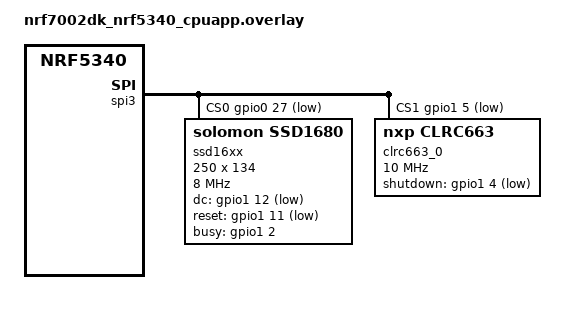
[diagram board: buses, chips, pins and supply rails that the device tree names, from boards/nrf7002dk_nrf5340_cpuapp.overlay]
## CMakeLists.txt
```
#
# Copyright (c) 2023 Nordic Semiconductor ASA
#
# SPDX-License-Identifier: LicenseRef-Nordic-5-Clause
#

cmake_minimum_required(VERSION 3.20.0)

find_package(Zephyr REQUIRED HINTS $ENV{ZEPHYR_BASE})
project(tcp_tests)

target_include_directories(app PUBLIC ${ZEPHYR_BASE}/subsys/net/ip)

target_sources(app PRIVATE
	src/main.c
	src/task/wifi.c
	src/task/tcp.c
	src/task/memoryManagement.c
	src/task/userInterface.c
    src/task/desfire/DesfireApp.cpp
    src/task/desfire/AES128.cpp
    src/task/desfire/DES.cpp
    src/task/desfire/Desfire.cpp
    src/task/desfire/Utils.cpp
)
```

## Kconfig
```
#
# Copyright (c) 2023 Nordic Semiconductor
#
# SPDX-License-Identifier: LicenseRef-Nordic-5-Clause
#

source "Kconfig.zephyr"

menu "Programme proncipale"

config CONNECTION_IDLE_TIMEOUT
	int "Time to be waited for a station to connect"
	default 30

config WIFI_SSID
	string "WIFI AP"
	help
	  Specify the SSID to connect

choice  WIFI_KEY_MGMT_SELECT
	prompt "Security Option"
	default WIFI_KEY_MGMT_WPA2

config WIFI_KEY_MGMT_NONE
	bool "Open Security"
	help
	  Enable for Open Security

config WIFI_KEY_MGMT_WPA2
	bool "WPA2 Security"
	help
	  Enable for WPA2 Security

config WIFI_KEY_MGMT_WPA2_256
	bool "WPA2 SHA 256 Security"
	help
	  Enable for WPA2-PSK-256 Security

config WIFI_KEY_MGMT_WPA3
	bool "WPA3 Security"
	help
	  Enable for WPA3 Security
endchoice

config WIFI_PASSWORD
	string "3vjd-tgyt-fm22-6sur"
	help
	  Specify the Password to connect

config STA_CONN_TIMEOUT_SEC
	int "Overall Connection timeout (time to be waited for a station to connect and get an IP address)"
	# Zephyr DHCP retry is 1 minute, so set the default to 70 seconds
	default 70
	# 512 has no special meaning, just a reasonable upper limit
	range 0 512
	help
	  Specify the connection timeout, in seconds. This is the overall timeout (time to be waited for
	  a station to connect and get an IP address). DHCP retries should be taken into account when setting
	  this value. If the timeout is set to 0, the connection will not timeout.

config TWT_TRIGGER_ENABLE
	bool "Enable trigger mode"
	help
	  STA expects AP to send triggers for start of every service period.

config TWT_ANNOUNCED_MODE
	bool "Enable announced mode"
	help
	  STA announces its wakeup to AP for every service period start.

config TWT_WAKE_INTERVAL
	int "TWT awake interval"
	help
	  The period where STA is awake and does data transfer, interval should be in us.
	default 65000

config TWT_INTERVAL
	int "TWT service interval"
	help
	  The period for TWT that includes both wake and sleep durations, interval should be in us.
	  Please note higher intervals can be rejected by AP or cause interoperability issues.
	default 524000

choice TWT_TRAFFIC_PATTERN
	prompt "Specifies the TWT traffic pattern either continuous tx or scheduled tx"
	default CONTINUOUS_TX

config CONTINUOUS_TX
	bool "Send traffic continuously"
	help
	  Send traffic continuously without any restrictions, irrespective of sleep and awake periods.

config SCHEDULED_TX
	bool "Send traffic based on TWT schedule"
	help
	  Send traffic based on the TWT schedule and only transmits during the awake periods.

endchoice

config TCP_SERVER_IP
	string "IPv4 address of the TCP server"
	help
	  Specify the IPv4 address of the TCP server
	default "0.0.0.0"

config TCP_SERVER_PORT
	int "Server port"
	help
	  Specify the server port
	default 2000

config DEVICE_MAJOR_VERSION
	int "Device major version"
	help
	  Specify the device major version
	default 0

config DEVICE_MINOR_VERSION
	int "Device minor version"
	help
	  Specify the device minor version
	default 1

choice DEVICE_TYPE
	prompt "Device type"
	default DEVICE_TYPE_DEVKIT

config DEVICE_TYPE_DEVKIT
	bool "Development kit"
	help
	  Specify the device type is the devkit device

config DEVICE_TYPE_READER_HW_V1
	bool "Reader hardware version 1"
	help
	  Specify the device type is the reader hardware version 1

config DEVICE_TYPE_READER_HW_V2
	bool "Reader hardware version 2"
	help
	  Specify the device type is the reader hardware version 2

config DEVICE_TYPE_UNKNOWN
	bool "Unknown device type, please specify in the code"
	help
	  Specify the device type is unknown

config DEVICE_TYPE_CUSTOM
	bool "Custom device type, please specify in the code"
	help
	  Specify the device type is custom

endchoice

endmenu
```

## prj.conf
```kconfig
#
# Copyright (c) 2023 Nordic Semiconductor ASA
#
# SPDX-License-Identifier: LicenseRef-Nordic-5-Clause
#
# Enable the drivers
CONFIG_WIFI=y
CONFIG_WIFI_NRF700X=y
CONFIG_CRC=y
CONFIG_SPI=y
CONFIG_FLASH=y
CONFIG_REBOOT=y
CONFIG_CLRC663=y
CONFIG_SSD16XX=y

# Enable Display
CONFIG_DISPLAY=y
CONFIG_DISPLAY_LOG_LEVEL_ERR=y
CONFIG_CPP=y

# WPA supplicant
CONFIG_WPA_SUPP=y

# Below configs need to be modified based on security
# CONFIG_WIFI_KEY_MGMT_NONE=y
CONFIG_WIFI_KEY_MGMT_WPA2=y
#CONFIG_WIFI_KEY_MGMT_WPA2_256=y
# CONFIG_WIFI_KEY_MGMT_WPA3=y
CONFIG_WIFI_SSID="TWT_Test_AP"
CONFIG_WIFI_PASSWORD="3vjd-tgyt-fm22-6sur"

# Below configs are for TCP server
CONFIG_TCP_SERVER_IP="192.168.0.118"
CONFIG_TCP_SERVER_PORT=3000

# Below this config is for the device type
CONFIG_DEVICE_TYPE_DEVKIT=y

# Below configs are for TWT
# Time when the wifi is awake [us]
CONFIG_TWT_WAKE_INTERVAL=65000
# Time for one TWT cycle (Awake + sleep time) [us]
CONFIG_TWT_INTERVAL=10000000


# System settings
CONFIG_NEWLIB_LIBC=y
CONFIG_NEWLIB_LIBC_NANO=n

# Networking
CONFIG_NETWORKING=y
CONFIG_NET_SOCKETS=y
CONFIG_NET_LOG=y
CONFIG_NET_IPV4=y
CONFIG_NET_IPV6=n
CONFIG_NET_UDP=y
CONFIG_NET_TCP=y
CONFIG_NET_DHCPV4=y

# Below section is the primary contributor to SRAM and is currently
# tuned for performance, but this will be revisited in the future.
CONFIG_NET_PKT_TX_COUNT=8
CONFIG_NET_PKT_RX_COUNT=16
CONFIG_NET_BUF_TX_COUNT=16
CONFIG_NET_BUF_RX_COUNT=16
CONFIG_NET_BUF_DATA_SIZE=1500
CONFIG_HEAP_MEM_POOL_SIZE=180000
CONFIG_SPEED_OPTIMIZATIONS=y
#CONFIG_NRF700X_MAX_TX_AGGREGATION=9
#CONFIG_NRF700X_MAX_TX_TOKENS=12
CONFIG_NET_TC_TX_COUNT=1

# Below configs will increase tcp connection timeout
CONFIG_NET_TCP_ACK_TIMEOUT=60000
CONFIG_NET_TCP_INIT_RETRANSMISSION_TIMEOUT=1000
CONFIG_NET_SOCKETS_CONNECT_TIMEOUT=10000
CONFIG_NET_TCP_RETRY_COUNT=10

CONFIG_NET_IF_UNICAST_IPV4_ADDR_COUNT=1
CONFIG_NET_MAX_CONTEXTS=5
CONFIG_NET_CONTEXT_SYNC_RECV=y

CONFIG_INIT_STACKS=y

CONFIG_NET_L2_ETHERNET=y

CONFIG_NET_CONFIG_SETTINGS=y
CONFIG_NET_CONFIG_INIT_TIMEOUT=0

CONFIG_NET_SOCKETS_POLL_MAX=10

# Memories
CONFIG_MAIN_STACK_SIZE=4096
CONFIG_SYSTEM_WORKQUEUE_STACK_SIZE=4096
CONFIG_NET_TX_STACK_SIZE=4096
CONFIG_NET_RX_STACK_SIZE=4096

# Debugging
CONFIG_STACK_SENTINEL=y
CONFIG_DEBUG_COREDUMP=y
CONFIG_DEBUG_COREDUMP_BACKEND_LOGGING=y
CONFIG_DEBUG_COREDUMP_MEMORY_DUMP_MIN=y
CONFIG_SHELL_CMDS_RESIZE=n


# Kernel options
CONFIG_ENTROPY_GENERATOR=y

# Logging
CONFIG_LOG=y
CONFIG_LOG_BUFFER_SIZE=2048
CONFIG_CLRC663_LOG_LEVEL_INF=y
CONFIG_POSIX_CLOCK=y

#CONFIG_PM=y

CONFIG_NET_CONFIG_MY_IPV4_ADDR="192.168.0.68"
CONFIG_NET_CONFIG_MY_IPV4_NETMASK="255.255.255.0"
CONFIG_NET_CONFIG_MY_IPV4_GW=""

# printing of scan results puts pressure on queues in new locking
# design in net_mgmt. So, use a higher timeout for a crowded
# environment.
CONFIG_NET_MGMT_EVENT_QUEUE_TIMEOUT=5000

# Needed because traffic gen uses more sockets, so, keeping an upper limit
CONFIG_POSIX_MAX_FDS=16

# enable lvgl
CONFIG_LVGL=y
CONFIG_LV_Z_MEM_POOL_SIZE=4096

CONFIG_LV_COLOR_DEPTH_1=y
CONFIG_LV_USE_LABEL=y
CONFIG_LV_USE_WIN=y
CONFIG_LV_USE_IMG=y

CONFIG_LV_TXT_ENC_UTF8=y
```

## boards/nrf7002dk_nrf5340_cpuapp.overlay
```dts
/*
 * Copyright (c) 2024 Johann Gilliéron
 * SPDX-License-Identifier: Apache-2.0
 */
 / {
    chosen {
        zephyr,display = &ssd16xx;
    };
};

&spi3 {
    status = "okay";
    cs-gpios = <&gpio0 27 GPIO_ACTIVE_LOW>, <&gpio1 5 GPIO_ACTIVE_LOW>; //, <&gpio0 3 GPIO_ACTIVE_LOW>

    ssd16xx: ssd1680@0 {
        compatible = "solomon,ssd1680";
        spi-max-frequency = <8000000>;
        status = "okay";
        reg = <0>;
        width = <250>;
        height = <134>;
        dc-gpios = <&gpio1 12 GPIO_ACTIVE_LOW>;
        reset-gpios = <&gpio1 11 GPIO_ACTIVE_LOW>;
        busy-gpios = <&gpio1 2 GPIO_ACTIVE_HIGH>;
        zephyr,pm-device-runtime-auto;
    };

    clrc663_0: nfc@1 {
        compatible = "nxp,clrc663";
        status = "okay";
		reg = <1>;
        shutdown-gpios = <&gpio1 4 GPIO_ACTIVE_LOW>;
        spi-max-frequency = <10000000>;
    };
};
```

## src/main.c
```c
/*
 * Copyright (c) 2023 Nordic Semiconductor ASA
 *
 * SPDX-License-Identifier: LicenseRef-Nordic-5-Clause
 */

/** @file
 * @brief WiFi TWT sample
 */

#include <zephyr/logging/log.h>
LOG_MODULE_REGISTER(app, CONFIG_LOG_DEFAULT_LEVEL);

#include <nrfx_clock.h>
#include <zephyr/kernel.h>
#include <zephyr/sys/crc.h>
#include <stdio.h>
#include <stdlib.h>
#include <zephyr/sys/printk.h>
#include <zephyr/init.h>

#include "task/wifi.h"
#include "task/deviceInformation.h"
#include "task/memoryManagement.h"
#include "task/userInterface.h"


#if !DT_NODE_EXISTS(DT_NODELABEL(clrc663_0))
#error "whoops, node label clrc663_0 not found"
#endif

const struct device *clrc663 = DEVICE_DT_GET(DT_NODELABEL(clrc663_0));

#if !DT_NODE_EXISTS(DT_NODELABEL(mx25r64))
#error "whoops, node label mx25r64 (Flash SPI) not found"
#endif
const struct device *flash_device = DEVICE_DT_GET(DT_NODELABEL(mx25r64));


const struct device *display_dev = DEVICE_DT_GET(DT_CHOSEN(zephyr_display));

DeviceConfig_t device_config;
uint32_t time_offset = 0;

void load_device_config(void)
{
	uint16_t crc;
	int ret;

	// Load the device configuration from the flash memory
	ret = flash_read_device_config(&device_config);
	if (ret != 0) {
		LOG_ERR("Failed to load the device configuration from the flash memory");
	}

	// Check if the device configuration is valid
	crc = crc16_ansi((char *)&device_config, sizeof(DeviceConfig_t) - sizeof(uint16_t));
	if(crc != device_config.CRC_16_ansi) {
		LOG_WRN("Device configuration is invalid, set the device configuration to the default values");
		// Set the device configuration to the default values
		if (device_config.device_id == 0xff) {
			device_config.device_id = DEFAULT_DEVICE_ID;
		}
		device_config.device_type = DEFAULT_DEVICE_TYPE;
		device_config.device_status = DEVICE_STATUS_OK;
		device_config.device_major_version = DEFAULT_DEVICE_MAJOR_VERSION;
		device_config.device_minor_version = DEFAULT_DEVICE_MINOR_VERSION;
		crc = crc16_ansi((char *)&device_config, sizeof(DeviceConfig_t) - sizeof(uint16_t));
		device_config.CRC_16_ansi = crc;
		// Save the device configuration to the flash memory
		ret = flash_write_device_config(&device_config);
		if (ret != 0) {
			LOG_ERR("Failed to save the device configuration to the flash memory");
		}
	} else {
		LOG_INF("Device configuration loaded successfully");
	}

	// check if the device is updated or not
	if (device_config.device_major_version != DEFAULT_DEVICE_MAJOR_VERSION || device_config.device_minor_version != DEFAULT_DEVICE_MINOR_VERSION) {
		LOG_WRN("Device configuration is outdated, set the device configuration to the new version values");
		// Set the device configuration to the default values
		device_config.device_type = DEFAULT_DEVICE_TYPE;
		device_config.device_status = DEVICE_STATUS_OK;
		device_config.device_major_version = DEFAULT_DEVICE_MAJOR_VERSION;
		device_config.device_minor_version = DEFAULT_DEVICE_MINOR_VERSION;
		crc = crc16_ansi((char *)&device_config, sizeof(DeviceConfig_t) - sizeof(uint16_t));
		device_config.CRC_16_ansi = crc;
		// Save the device configuration to the flash memory
		ret = flash_write_device_config(&device_config);
		if (ret != 0) {
			LOG_ERR("Failed to save the device configuration to the flash memory");
		}
	}

	// Print the device configuration for the debug
	LOG_INF("Device ID: %d", device_config.device_id);
	LOG_INF("Device type: %d", device_config.device_type);
	LOG_INF("Device status: %d", device_config.device_status);
	LOG_INF("Device major version: %d", device_config.device_major_version);
	LOG_INF("Device minor version: %d", device_config.device_minor_version);
}

void clean_flash(void)
{
	int ret;

	// Erase the flash memory for the device configuration
	ret = flash_erase_partition(FLASH_MEM_PARTITION_USER_DATA);
	if (ret != 0) {
		LOG_ERR("Failed to erase the flash memory for the user data");
	}
}

int main(void)
{
	LOG_INF("Starting %s with CPU frequency: %d MHz", CONFIG_BOARD, SystemCoreClock/MHZ(1));
	if (flash_init(flash_device) != 0) {
		LOG_ERR("Flash init failed");
		k_sleep(K_FOREVER);
	}
	//clean_flash();
	load_device_config();
	memoryManagement_thread_init();
	communication_thread_init();
	userInterface_thread_init();
	while(1)
	{
		//LOG_INF("Hello from main");
		k_sleep(K_SECONDS(1));
	}
	k_sleep(K_FOREVER);
	return 0;
}
```
